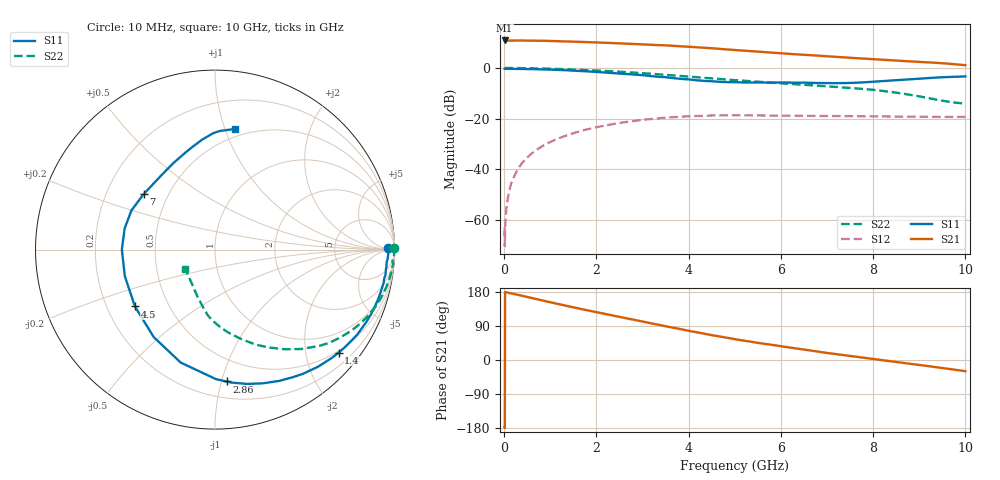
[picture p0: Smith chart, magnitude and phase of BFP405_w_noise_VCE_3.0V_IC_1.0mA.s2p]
! Infineon Technologies  Discrete & RF Semiconductors
! BFP405
! VCE =  3.0 V,  IC =  1.0 mA
! Common Emitter S-Parameters:  Jan 2016
# GHz  S  MA  R  50
!  f  S11  S21  S12  S22
! GHz  MAG  ANG  MAG  ANG  MAG  ANG  MAG  ANG
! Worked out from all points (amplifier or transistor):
!   233 points, 10 MHz to 10 GHz, reference 50 ohm
!   highest |S21| = 10.9 dB at 10 MHz (marker M1)
!   |S21| within 3 dB of that: start of sweep to 4.431 GHz
!   unconditionally stable (mu >= 1): 14.37 MHz to 15.28 MHz; 5.212 GHz to end of sweep
!   at 200 MHz: K = 0.04, MSG = 27.2 dB, |S12| = -43.5 dB
!   at 1.74 GHz: K = 0.20, MSG = 17.4 dB, |S12| = -24.5 dB
!   at 10 GHz: K = 2.03, MAG = 4.4 dB, |S12| = -19.3 dB
!   lowest NFmin = 0.74 dB at 900 MHz
!   S11 on the Smith chart (normalised r, x): 10 MHz: 53, +10; 1.4 GHz: 0.46, -2.69; 2.86 GHz: 0.32, -1.04; 4.5 GHz: 0.32, -0.29; 7 GHz: 0.36, +0.30; 10 GHz: 0.43, +1.08
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0.01  0.9646 0.4  3.502 -177.4  0.0007 -40.9  1 0.6
0.015  0.9637 0.1  3.485 -179.1  0.0003 14.2  0.9977 0.4
0.02  0.9629 -0.2  3.472 179.2  0.0006 87.2  0.9954 0.2
0.03  0.9638 -0.6  3.468 179.1  0.001 87.8  0.9965 -0.0
0.055  0.9655 -1.4  3.461 178.7  0.0019 88.1  0.9986 -0.5
0.08  0.9645 -2.2  3.474 177.8  0.0027 87.5  0.9987 -1.0
0.18  0.9596 -4.9  3.48 175.1  0.0061 86.4  0.9969 -2.8
0.34  0.957 -9.4  3.479 170.8  0.0115 84.9  0.9939 -5.1
0.88  0.9361 -24.7  3.444 155.8  0.0302 76.7  0.9737 -13.4
1.4  0.8968 -39.8  3.348 141.6  0.0481 67.7  0.9411 -21.1
1.68  0.8704 -48.1  3.283 134.3  0.0574 62.7  0.9191 -25.0
2.22  0.8117 -64.5  3.142 120.6  0.0739 53.1  0.8715 -32.4
2.86  0.7376 -85.0  2.974 105.0  0.091 41.9  0.8069 -40.8
3.4  0.6653 -103.2  2.821 91.7  0.1022 32.3  0.7447 -47.6
4  0.5952 -125.0  2.64 77.1  0.1112 22.3  0.6758 -55.2
4.5  0.547 -144.6  2.46 65.6  0.1151 14.7  0.6224 -61.2
5.1  0.5194 -166.9  2.229 52.9  0.116 6.7  0.5664 -67.8
6  0.517 166.8  1.946 36.3  0.1139 -2.3  0.4987 -76.3
6.8  0.5048 147.3  1.751 22.3  0.1121 -7.9  0.4465 -84.0
7  0.5036 142.2  1.707 18.6  0.1117 -9.2  0.4341 -86.0
8.4  0.5654 106.9  1.417 -3.8  0.1096 -16.7  0.3348 -100.8
10  0.6814 80.5  1.135 -29.6  0.1078 -21.7  0.1979 -147.0
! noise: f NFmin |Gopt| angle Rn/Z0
0.9  0.74  0.71  15  0.57
1.8  1.18  0.58  32  0.51
2.4  1.45  0.48  44  0.46
3  1.56  0.48  58  0.43
4  1.81  0.35  86  0.3
5  2.13  0.33  122  0.21
